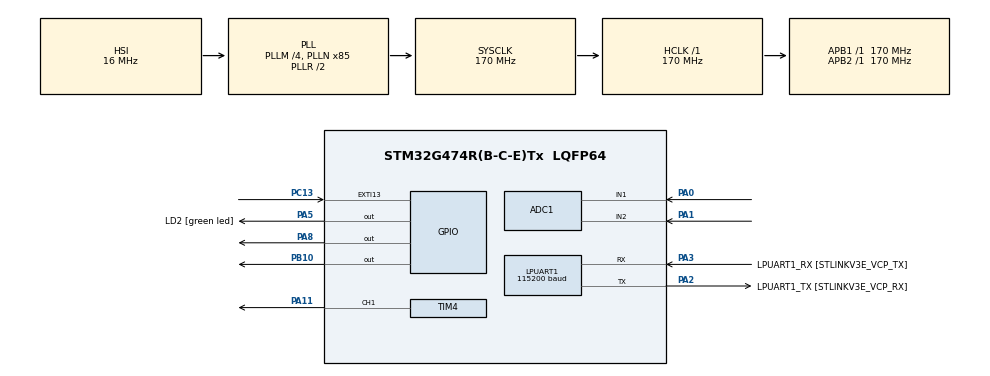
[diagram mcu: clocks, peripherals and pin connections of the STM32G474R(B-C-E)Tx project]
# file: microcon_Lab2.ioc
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ADC1.Channel-0\#ChannelRegularConversion=ADC_CHANNEL_1
ADC1.Channel-1\#ChannelRegularConversion=ADC_CHANNEL_2
ADC1.ContinuousConvMode=DISABLE
ADC1.DMAContinuousRequests=ENABLE
ADC1.ExternalTrigConv=ADC_EXTERNALTRIG_T3_TRGO
ADC1.NbrOfConversion=2
ADC1.NbrOfConversionFlag=1
ADC1.OffsetNumber-0\#ChannelRegularConversion=ADC_OFFSET_NONE
ADC1.OffsetNumber-1\#ChannelRegularConversion=ADC_OFFSET_NONE
ADC1.Rank-0\#ChannelRegularConversion=1
ADC1.Rank-1\#ChannelRegularConversion=2
ADC1.SamplingTime-0\#ChannelRegularConversion=ADC_SAMPLETIME_2CYCLES_5
ADC1.SamplingTime-1\#ChannelRegularConversion=ADC_SAMPLETIME_2CYCLES_5
ADC1.master=1
ARM.CMSIS-DSP.1.15.0.CMSISJjDSP=Source
ARM.CMSIS.6.0.0.CMSISJjCORE=true
Dma.ADC1.0.Direction=DMA_PERIPH_TO_MEMORY
Dma.ADC1.0.EventEnable=DISABLE
Dma.ADC1.0.Instance=DMA1_Channel1
Dma.ADC1.0.MemDataAlignment=DMA_MDATAALIGN_HALFWORD
Dma.ADC1.0.MemInc=DMA_MINC_ENABLE
Dma.ADC1.0.Mode=DMA_CIRCULAR
Dma.ADC1.0.PeriphDataAlignment=DMA_PDATAALIGN_HALFWORD
Dma.ADC1.0.PeriphInc=DMA_PINC_DISABLE
Dma.ADC1.0.Polarity=HAL_DMAMUX_REQ_GEN_RISING
Dma.ADC1.0.Priority=DMA_PRIORITY_LOW
Dma.ADC1.0.RequestNumber=1
Dma.ADC1.0.SignalID=NONE
Dma.ADC1.0.SyncEnable=DISABLE
Dma.ADC1.0.SyncPolarity=HAL_DMAMUX_SYNC_NO_EVENT
Dma.ADC1.0.SyncRequestNumber=1
Dma.ADC1.0.SyncSignalID=NONE
Dma.LPUART1_RX.1.Direction=DMA_PERIPH_TO_MEMORY
Dma.LPUART1_RX.1.EventEnable=DISABLE
Dma.LPUART1_RX.1.Instance=DMA1_Channel2
Dma.LPUART1_RX.1.MemDataAlignment=DMA_MDATAALIGN_BYTE
Dma.LPUART1_RX.1.MemInc=DMA_MINC_ENABLE
Dma.LPUART1_RX.1.Mode=DMA_CIRCULAR
Dma.LPUART1_RX.1.PeriphDataAlignment=DMA_PDATAALIGN_BYTE
Dma.LPUART1_RX.1.PeriphInc=DMA_PINC_DISABLE
Dma.LPUART1_RX.1.Polarity=HAL_DMAMUX_REQ_GEN_RISING
Dma.LPUART1_RX.1.Priority=DMA_PRIORITY_LOW
Dma.LPUART1_RX.1.RequestNumber=1
Dma.LPUART1_RX.1.SignalID=NONE
Dma.LPUART1_RX.1.SyncEnable=DISABLE
Dma.LPUART1_RX.1.SyncPolarity=HAL_DMAMUX_SYNC_NO_EVENT
Dma.LPUART1_RX.1.SyncRequestNumber=1
Dma.LPUART1_RX.1.SyncSignalID=NONE
Dma.LPUART1_TX.2.Direction=DMA_MEMORY_TO_PERIPH
Dma.LPUART1_TX.2.EventEnable=DISABLE
Dma.LPUART1_TX.2.Instance=DMA1_Channel3
Dma.LPUART1_TX.2.MemDataAlignment=DMA_MDATAALIGN_BYTE
Dma.LPUART1_TX.2.MemInc=DMA_MINC_ENABLE
Dma.LPUART1_TX.2.Mode=DMA_NORMAL
Dma.LPUART1_TX.2.PeriphDataAlignment=DMA_PDATAALIGN_BYTE
Dma.LPUART1_TX.2.PeriphInc=DMA_PINC_DISABLE
Dma.LPUART1_TX.2.Polarity=HAL_DMAMUX_REQ_GEN_RISING
Dma.LPUART1_TX.2.Priority=DMA_PRIORITY_LOW
Dma.LPUART1_TX.2.RequestNumber=1
Dma.LPUART1_TX.2.SignalID=NONE
Dma.LPUART1_TX.2.SyncEnable=DISABLE
Dma.LPUART1_TX.2.SyncPolarity=HAL_DMAMUX_SYNC_NO_EVENT
Dma.LPUART1_TX.2.SyncRequestNumber=1
Dma.LPUART1_TX.2.SyncSignalID=NONE
Dma.Request0=ADC1
Dma.Request1=LPUART1_RX
Dma.Request2=LPUART1_TX
LPUART1.BaudRate=115200
LPUART1.WordLength=UART_WORDLENGTH_8B
Mcu.Family=STM32G4
Mcu.Name=STM32G474R(B-C-E)Tx
Mcu.Package=LQFP64
NVIC.DMA1_Channel1_IRQn=true\:0\:0\:false\:false\:true\:false\:true\:true
NVIC.DMA1_Channel2_IRQn=true\:0\:0\:false\:false\:true\:false\:true\:true
NVIC.DMA1_Channel3_IRQn=true\:0\:0\:false\:false\:true\:false\:true\:true
NVIC.EXTI15_10_IRQn=true\:0\:0\:false\:false\:true\:true\:true\:true
NVIC.LPUART1_IRQn=true\:0\:0\:false\:false\:true\:true\:true\:true
NVIC.PriorityGroup=NVIC_PRIORITYGROUP_4
NVIC.TIM5_IRQn=true\:0\:0\:false\:false\:true\:true\:true\:true
PA0.Mode=IN1-Single-Ended
PA0.Signal=ADC1_IN1
PA1.Mode=IN2-Single-Ended
PA1.Signal=ADC1_IN2
PA11.Signal=S_TIM4_CH1
PA13.GPIO_Label=T_SWDIO
PA13.Mode=Trace_Asynchronous_SW
PA13.Signal=SYS_JTMS-SWDIO
PA14.GPIO_Label=T_SWCLK
PA14.Mode=Trace_Asynchronous_SW
PA14.Signal=SYS_JTCK-SWCLK
PA2.GPIO_Label=LPUART1_TX [STLINKV3E_VCP_RX]
PA2.Mode=Asynchronous
PA2.Signal=LPUART1_TX
PA3.GPIO_Label=LPUART1_RX [STLINKV3E_VCP_TX]
PA3.Mode=Asynchronous
PA3.Signal=LPUART1_RX
PA5.GPIO_Label=LD2 [green led]
PA5.Signal=GPIO_Output
PA8.Signal=GPIO_Output
PB10.Signal=GPIO_Output
PB3.GPIO_Label=T_SWO
PB3.Mode=Trace_Asynchronous_SW
PB3.Signal=SYS_JTDO-SWO
PC13.GPIO_ModeDefaultEXTI=GPIO_MODE_IT_RISING
PC13.Signal=GPXTI13
PC14-OSC32_IN.Mode=LSE-External-Oscillator
PC14-OSC32_IN.Signal=RCC_OSC32_IN
PC15-OSC32_OUT.Mode=LSE-External-Oscillator
PC15-OSC32_OUT.Signal=RCC_OSC32_OUT
PF0-OSC_IN.Mode=HSE-External-Oscillator
PF0-OSC_IN.Signal=RCC_OSC_IN
PF1-OSC_OUT.Mode=HSE-External-Oscillator
PF1-OSC_OUT.Signal=RCC_OSC_OUT
ProjectManager.HeapSize=0x200
ProjectManager.StackSize=0x400
ProjectManager.TargetToolchain=STM32CubeIDE
RCC.ADC12Freq_Value=170000000
RCC.ADC345Freq_Value=170000000
RCC.AHBFreq_Value=170000000
RCC.APB1Freq_Value=170000000
RCC.APB1TimFreq_Value=170000000
RCC.APB2Freq_Value=170000000
RCC.APB2TimFreq_Value=170000000
RCC.CortexFreq_Value=170000000
RCC.EXTERNAL_CLOCK_VALUE=12288000
RCC.HCLKFreq_Value=170000000
RCC.HSE_VALUE=24000000
RCC.HSI48_VALUE=48000000
RCC.HSI_VALUE=16000000
RCC.PLLM=RCC_PLLM_DIV4
RCC.PLLN=85
RCC.RTCClockSelection=RCC_RTCCLKSOURCE_LSE
RCC.SYSCLKFreq_VALUE=170000000
RCC.SYSCLKSource=RCC_SYSCLKSOURCE_PLLCLK
RCC.USBFreq_Value=170000000
RCC.VCOOutputFreq_Value=340000000
SH.S_TIM4_CH1.0=TIM4_CH1,PWM Generation1 CH1
TIM3.PeriodNoDither=999
TIM3.Prescaler=169
TIM3.TIM_MasterOutputTrigger=TIM_TRGO_UPDATE
TIM4.Channel-PWM\ Generation1\ CH1=TIM_CHANNEL_1
TIM4.PeriodNoDither=999
TIM4.Prescaler=169
TIM4.PulseNoDither_1=500
TIM5.PeriodNoDither=4999
TIM5.Prescaler=169
VP_ARM.CMSIS-DSP_VS_CMSISJjDSP_1.15.0_1.15.0.Mode=CMSISJjDSP
VP_ARM.CMSIS_VS_CMSISJjCORE_6.0.0_6.0.0.Mode=CMSISJjCORE
VP_SYS_VS_DBSignals.Mode=DisableDeadBatterySignals
VP_TIM3_VS_ClockSourceINT.Mode=Internal
VP_TIM4_VS_ClockSourceINT.Mode=Internal
VP_TIM5_VS_ClockSourceINT.Mode=Internal
board=NUCLEO-G474RE

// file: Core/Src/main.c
/* USER CODE BEGIN Header */
/**
  ******************************************************************************
  * @file           : main.c
  * @brief          : Main program body
  ******************************************************************************
  * @attention
  *
  * Copyright (c) 2024 STMicroelectronics.
  * All rights reserved.
  *
  * This software is licensed under terms that can be found in the LICENSE file
  * in the root directory of this software component.
  * If no LICENSE file comes with this software, it is provided AS-IS.
  *
  ******************************************************************************
  ******************************************************************************
  ******************************************************************************
  TODO:
  set PWM mode 2 peripherals
  set QEI Timer
  set 1000 Hz timer
  */
/* USER CODE END Header */
#include "main.h"

/* USER CODE BEGIN Includes */
#include "arm_math.h"
/* USER CODE END Includes */

ADC_HandleTypeDef hadc1;
DMA_HandleTypeDef hdma_adc1;

UART_HandleTypeDef hlpuart1;
DMA_HandleTypeDef hdma_lpuart1_rx;
DMA_HandleTypeDef hdma_lpuart1_tx;

TIM_HandleTypeDef htim3;
TIM_HandleTypeDef htim4;
TIM_HandleTypeDef htim5;
TIM_HandleTypeDef htim1;
TIM_HandleTypeDef htim2;
TIM_HandleTypeDef htim8;
/* USER CODE BEGIN PV */

//For Read Real_positionM1, set_point
uint16_t ADCBuffer[2];

//PID
arm_pid_instance_f32 PID1 = {0};
arm_pid_instance_f32 PID2 = {0};
float positionM1 =0;
float setpositionM1 = 0;
float VfeedbackM1 = 0;
float VfeedbackM2 = 0;
uint16_t Raw_positionM2 = 0;
float positionM2 = 0;
uint16_t QEIReadRaw = 0;

//For create PWM
float duty_cycle = 0;

//count round to unwrap positionM1
int n_round = 0;
uint16_t old_ADC = 0;

//change_mode
uint8_t mode = 1;  //mode1->motor control    mode2->faulhaber

uint8_t get_Uart[2];

/* USER CODE END PV */

void SystemClock_Config(void);
static void MX_GPIO_Init(void);
static void MX_DMA_Init(void);
static void MX_LPUART1_UART_Init(void);
static void MX_ADC1_Init(void);
static void MX_TIM3_Init(void);
static void MX_TIM4_Init(void);
static void MX_TIM5_Init(void);
/* USER CODE BEGIN PFP */
float PlantSimulation(float VIn) ;
void PWM_Mode1();
void PWM_Mode2();
void Read_setpoint_positionM1_Mode1();

//Received UART DMA
void UARTDMAConfig();
/* USER CODE END PFP */

int main(void)
{

  /* MCU Configuration--------------------------------------------------------*/

  /* Reset of all peripherals, Initializes the Flash interface and the Systick. */
  HAL_Init();

  /* Configure the system clock */
  SystemClock_Config();

  /* Initialize all configured peripherals */
  MX_GPIO_Init();
  MX_DMA_Init();
  MX_LPUART1_UART_Init();
  MX_ADC1_Init();
  MX_TIM3_Init();
  MX_TIM4_Init();
  MX_TIM5_Init();
  /* USER CODE BEGIN 2 */

  //Read real_positionM1, set_point with DMA
  HAL_ADC_Start_DMA(&hadc1, ADCBuffer, 2);
  HAL_TIM_Base_Start(&htim3);

  //PID Control
  PID1.Kp = 1.9;
  PID1.Ki = 0;
  PID1.Kd = 0;
  arm_pid_init_f32(&PID1, 0);

  //PID Control
  PID2.Kp = 0.5;
  PID2.Ki = 0;
  PID2.Kd = 0;
  arm_pid_init_f32(&PID2, 0);

  //Output Compare for PWM Mode1
  HAL_TIM_Base_Start(&htim4);
  HAL_TIM_PWM_Start(&htim4, TIM_CHANNEL_1);

  //Output Compare for PWM Mode2
//  HAL_TIM_Base_Start(&htim8);
//  HAL_TIM_PWM_Start(&htim8, TIM_CHANNEL_1);

  //Mode3 send UART to Matlab
  HAL_TIM_Base_Start_IT(&htim5);

  // Start UART in DMA mode
  HAL_UART_Receive_DMA(&hlpuart1, get_Uart, 2);

  //QEI
//  HAL_TIM_Encoder_Start(&htim1,TIM_CHANNEL_ALL);
//
//  //Timer interrupt read position
//  HAL_TIM_Base_Start_IT(&htim2);

  /* USER CODE END 2 */

  /* Infinite loop */
  while (1)
  {

    /* USER CODE BEGIN 3 */
	  if(mode == 1){ //motor control 12V
		  HAL_GPIO_WritePin(GPIOA, GPIO_PIN_5, GPIO_PIN_SET);
		  VfeedbackM1 = arm_pid_f32(&PID1, setpositionM1 - positionM1); //no more than 12V
		  duty_cycle = fabs(VfeedbackM1) * 100/12; //0->12V to 0->100%
		  PWM_Mode1(duty_cycle);
		  PWM_Mode2(0);
	  }
	  else if(mode == 2){ //Fualhaber
		  HAL_GPIO_WritePin(GPIOA, GPIO_PIN_5, GPIO_PIN_RESET);
		  VfeedbackM2 = arm_pid_f32(&PID2, setpositionM1 - positionM2); //no more than 12V
		  duty_cycle = fabs(VfeedbackM2) * 100/5; //0->5V to 0->100%
		  PWM_Mode1(0);
		  PWM_Mode2(duty_cycle);
	  }
	  else if(mode == 3){

		  HAL_GPIO_TogglePin(GPIOA, GPIO_PIN_5);
	  }
	  else if(mode == 4){
		  //why are you here
		  //test again
	  }
  }
  /* USER CODE END 3 */
}

void SystemClock_Config(void)
{
  RCC_OscInitTypeDef RCC_OscInitStruct = {0};
  RCC_ClkInitTypeDef RCC_ClkInitStruct = {0};

  /** Configure the main internal regulator output voltage
  */
  HAL_PWREx_ControlVoltageScaling(PWR_REGULATOR_VOLTAGE_SCALE1_BOOST);

  /** Initializes the RCC Oscillators according to the specified parameters
  * in the RCC_OscInitTypeDef structure.
  */
  RCC_OscInitStruct.OscillatorType = RCC_OSCILLATORTYPE_HSI;
  RCC_OscInitStruct.HSIState = RCC_HSI_ON;
  RCC_OscInitStruct.HSICalibrationValue = RCC_HSICALIBRATION_DEFAULT;
  RCC_OscInitStruct.PLL.PLLState = RCC_PLL_ON;
  RCC_OscInitStruct.PLL.PLLSource = RCC_PLLSOURCE_HSI;
  RCC_OscInitStruct.PLL.PLLM = RCC_PLLM_DIV4;
  RCC_OscInitStruct.PLL.PLLN = 85;
  RCC_OscInitStruct.PLL.PLLP = RCC_PLLP_DIV2;
  RCC_OscInitStruct.PLL.PLLQ = RCC_PLLQ_DIV2;
  RCC_OscInitStruct.PLL.PLLR = RCC_PLLR_DIV2;
  if (HAL_RCC_OscConfig(&RCC_OscInitStruct) != HAL_OK)
  {
    Error_Handler();
  }

  /** Initializes the CPU, AHB and APB buses clocks
  */
  RCC_ClkInitStruct.ClockType = RCC_CLOCKTYPE_HCLK|RCC_CLOCKTYPE_SYSCLK
                              |RCC_CLOCKTYPE_PCLK1|RCC_CLOCKTYPE_PCLK2;
  RCC_ClkInitStruct.SYSCLKSource = RCC_SYSCLKSOURCE_PLLCLK;
  RCC_ClkInitStruct.AHBCLKDivider = RCC_SYSCLK_DIV1;
  RCC_ClkInitStruct.APB1CLKDivider = RCC_HCLK_DIV1;
  RCC_ClkInitStruct.APB2CLKDivider = RCC_HCLK_DIV1;

  if (HAL_RCC_ClockConfig(&RCC_ClkInitStruct, FLASH_LATENCY_4) != HAL_OK)
  {
    Error_Handler();
  }
}

static void MX_ADC1_Init(void)
{

  ADC_MultiModeTypeDef multimode = {0};
  ADC_ChannelConfTypeDef sConfig = {0};

  /** Common config
  */
  hadc1.Instance = ADC1;
  hadc1.Init.ClockPrescaler = ADC_CLOCK_SYNC_PCLK_DIV4;
  hadc1.Init.Resolution = ADC_RESOLUTION_12B;
  hadc1.Init.DataAlign = ADC_DATAALIGN_RIGHT;
  hadc1.Init.GainCompensation = 0;
  hadc1.Init.ScanConvMode = ADC_SCAN_ENABLE;
  hadc1.Init.EOCSelection = ADC_EOC_SINGLE_CONV;
  hadc1.Init.LowPowerAutoWait = DISABLE;
  hadc1.Init.ContinuousConvMode = DISABLE;
  hadc1.Init.NbrOfConversion = 2;
  hadc1.Init.DiscontinuousConvMode = DISABLE;
  hadc1.Init.ExternalTrigConv = ADC_EXTERNALTRIG_T3_TRGO;
  hadc1.Init.ExternalTrigConvEdge = ADC_EXTERNALTRIGCONVEDGE_RISING;
  hadc1.Init.DMAContinuousRequests = ENABLE;
  hadc1.Init.Overrun = ADC_OVR_DATA_PRESERVED;
  hadc1.Init.OversamplingMode = DISABLE;
  if (HAL_ADC_Init(&hadc1) != HAL_OK)
  {
    Error_Handler();
  }

  /** Configure the ADC multi-mode
  */
  multimode.Mode = ADC_MODE_INDEPENDENT;
  if (HAL_ADCEx_MultiModeConfigChannel(&hadc1, &multimode) != HAL_OK)
  {
    Error_Handler();
  }

  /** Configure Regular Channel
  */
  sConfig.Channel = ADC_CHANNEL_1;
  sConfig.Rank = ADC_REGULAR_RANK_1;
  sConfig.SamplingTime = ADC_SAMPLETIME_2CYCLES_5;
  sConfig.SingleDiff = ADC_SINGLE_ENDED;
  sConfig.OffsetNumber = ADC_OFFSET_NONE;
  sConfig.Offset = 0;
  if (HAL_ADC_ConfigChannel(&hadc1, &sConfig) != HAL_OK)
  {
    Error_Handler();
  }

  /** Configure Regular Channel
  */
  sConfig.Channel = ADC_CHANNEL_2;
  sConfig.Rank = ADC_REGULAR_RANK_2;
  if (HAL_ADC_ConfigChannel(&hadc1, &sConfig) != HAL_OK)
  {
    Error_Handler();
  }

}

static void MX_LPUART1_UART_Init(void)
{

  hlpuart1.Instance = LPUART1;
  hlpuart1.Init.BaudRate = 115200;
  hlpuart1.Init.WordLength = UART_WORDLENGTH_8B;
  hlpuart1.Init.StopBits = UART_STOPBITS_1;
  hlpuart1.Init.Parity = UART_PARITY_NONE;
  hlpuart1.Init.Mode = UART_MODE_TX_RX;
  hlpuart1.Init.HwFlowCtl = UART_HWCONTROL_NONE;
  hlpuart1.Init.OneBitSampling = UART_ONE_BIT_SAMPLE_DISABLE;
  hlpuart1.Init.ClockPrescaler = UART_PRESCALER_DIV1;
  hlpuart1.AdvancedInit.AdvFeatureInit = UART_ADVFEATURE_NO_INIT;
  if (HAL_UART_Init(&hlpuart1) != HAL_OK)
  {
    Error_Handler();
  }
  if (HAL_UARTEx_SetTxFifoThreshold(&hlpuart1, UART_TXFIFO_THRESHOLD_1_8) != HAL_OK)
  {
    Error_Handler();
  }
  if (HAL_UARTEx_SetRxFifoThreshold(&hlpuart1, UART_RXFIFO_THRESHOLD_1_8) != HAL_OK)
  {
    Error_Handler();
  }
  if (HAL_UARTEx_DisableFifoMode(&hlpuart1) != HAL_OK)
  {
    Error_Handler();
  }

}

static void MX_TIM3_Init(void)
{

  TIM_ClockConfigTypeDef sClockSourceConfig = {0};
  TIM_MasterConfigTypeDef sMasterConfig = {0};

  htim3.Instance = TIM3;
  htim3.Init.Prescaler = 169;
  htim3.Init.CounterMode = TIM_COUNTERMODE_UP;
  htim3.Init.Period = 999;
  htim3.Init.ClockDivision = TIM_CLOCKDIVISION_DIV1;
  htim3.Init.AutoReloadPreload = TIM_AUTORELOAD_PRELOAD_DISABLE;
  if (HAL_TIM_Base_Init(&htim3) != HAL_OK)
  {
    Error_Handler();
  }
  sClockSourceConfig.ClockSource = TIM_CLOCKSOURCE_INTERNAL;
  if (HAL_TIM_ConfigClockSource(&htim3, &sClockSourceConfig) != HAL_OK)
  {
    Error_Handler();
  }
  sMasterConfig.MasterOutputTrigger = TIM_TRGO_UPDATE;
  sMasterConfig.MasterSlaveMode = TIM_MASTERSLAVEMODE_DISABLE;
  if (HAL_TIMEx_MasterConfigSynchronization(&htim3, &sMasterConfig) != HAL_OK)
  {
    Error_Handler();
  }

}

static void MX_TIM4_Init(void)
{

  TIM_ClockConfigTypeDef sClockSourceConfig = {0};
  TIM_MasterConfigTypeDef sMasterConfig = {0};
  TIM_OC_InitTypeDef sConfigOC = {0};

  htim4.Instance = TIM4;
  htim4.Init.Prescaler = 169;
  htim4.Init.CounterMode = TIM_COUNTERMODE_UP;
  htim4.Init.Period = 999;
  htim4.Init.ClockDivision = TIM_CLOCKDIVISION_DIV1;
  htim4.Init.AutoReloadPreload = TIM_AUTORELOAD_PRELOAD_DISABLE;
  if (HAL_TIM_Base_Init(&htim4) != HAL_OK)
  {
    Error_Handler();
  }
  sClockSourceConfig.ClockSource = TIM_CLOCKSOURCE_INTERNAL;
  if (HAL_TIM_ConfigClockSource(&htim4, &sClockSourceConfig) != HAL_OK)
  {
    Error_Handler();
  }
  if (HAL_TIM_PWM_Init(&htim4) != HAL_OK)
  {
    Error_Handler();
  }
  sMasterConfig.MasterOutputTrigger = TIM_TRGO_RESET;
  sMasterConfig.MasterSlaveMode = TIM_MASTERSLAVEMODE_DISABLE;
  if (HAL_TIMEx_MasterConfigSynchronization(&htim4, &sMasterConfig) != HAL_OK)
  {
    Error_Handler();
  }
  sConfigOC.OCMode = TIM_OCMODE_PWM1;
  sConfigOC.Pulse = 500;
  sConfigOC.OCPolarity = TIM_OCPOLARITY_HIGH;
  sConfigOC.OCFastMode = TIM_OCFAST_DISABLE;
  if (HAL_TIM_PWM_ConfigChannel(&htim4, &sConfigOC, TIM_CHANNEL_1) != HAL_OK)
  {
    Error_Handler();
  }
  HAL_TIM_MspPostInit(&htim4);

}

static void MX_TIM5_Init(void)
{

  TIM_ClockConfigTypeDef sClockSourceConfig = {0};
  TIM_MasterConfigTypeDef sMasterConfig = {0};

  htim5.Instance = TIM5;
  htim5.Init.Prescaler = 169;
  htim5.Init.CounterMode = TIM_COUNTERMODE_UP;
  htim5.Init.Period = 4999;
  htim5.Init.ClockDivision = TIM_CLOCKDIVISION_DIV1;
  htim5.Init.AutoReloadPreload = TIM_AUTORELOAD_PRELOAD_DISABLE;
  if (HAL_TIM_Base_Init(&htim5) != HAL_OK)
  {
    Error_Handler();
  }
  sClockSourceConfig.ClockSource = TIM_CLOCKSOURCE_INTERNAL;
  if (HAL_TIM_ConfigClockSource(&htim5, &sClockSourceConfig) != HAL_OK)
  {
    Error_Handler();
  }
  sMasterConfig.MasterOutputTrigger = TIM_TRGO_RESET;
  sMasterConfig.MasterSlaveMode = TIM_MASTERSLAVEMODE_DISABLE;
  if (HAL_TIMEx_MasterConfigSynchronization(&htim5, &sMasterConfig) != HAL_OK)
  {
    Error_Handler();
  }

}

static void MX_DMA_Init(void)
{

  /* DMA controller clock enable */
  __HAL_RCC_DMAMUX1_CLK_ENABLE();
  __HAL_RCC_DMA1_CLK_ENABLE();

  /* DMA interrupt init */
  /* DMA1_Channel1_IRQn interrupt configuration */
  HAL_NVIC_SetPriority(DMA1_Channel1_IRQn, 0, 0);
  HAL_NVIC_EnableIRQ(DMA1_Channel1_IRQn);
  /* DMA1_Channel2_IRQn interrupt configuration */
  HAL_NVIC_SetPriority(DMA1_Channel2_IRQn, 0, 0);
  HAL_NVIC_EnableIRQ(DMA1_Channel2_IRQn);
  /* DMA1_Channel3_IRQn interrupt configuration */
  HAL_NVIC_SetPriority(DMA1_Channel3_IRQn, 0, 0);
  HAL_NVIC_EnableIRQ(DMA1_Channel3_IRQn);

}

static void MX_GPIO_Init(void)
{
  GPIO_InitTypeDef GPIO_InitStruct = {0};

  /* GPIO Ports Clock Enable */
  __HAL_RCC_GPIOC_CLK_ENABLE();
  __HAL_RCC_GPIOF_CLK_ENABLE();
  __HAL_RCC_GPIOA_CLK_ENABLE();
  __HAL_RCC_GPIOB_CLK_ENABLE();

  /*Configure GPIO pin Output Level */
  HAL_GPIO_WritePin(GPIOA, LD2_Pin|GPIO_PIN_8, GPIO_PIN_RESET);

  /*Configure GPIO pin Output Level */
  HAL_GPIO_WritePin(GPIOB, GPIO_PIN_10, GPIO_PIN_RESET);

  /*Configure GPIO pin : PC13 */
  GPIO_InitStruct.Pin = GPIO_PIN_13;
  GPIO_InitStruct.Mode = GPIO_MODE_IT_RISING;
  GPIO_InitStruct.Pull = GPIO_NOPULL;
  HAL_GPIO_Init(GPIOC, &GPIO_InitStruct);

  /*Configure GPIO pins : LD2_Pin PA8 */
  GPIO_InitStruct.Pin = LD2_Pin|GPIO_PIN_8;
  GPIO_InitStruct.Mode = GPIO_MODE_OUTPUT_PP;
  GPIO_InitStruct.Pull = GPIO_NOPULL;
  GPIO_InitStruct.Speed = GPIO_SPEED_FREQ_LOW;
  HAL_GPIO_Init(GPIOA, &GPIO_InitStruct);

  /*Configure GPIO pin : PB10 */
  GPIO_InitStruct.Pin = GPIO_PIN_10;
  GPIO_InitStruct.Mode = GPIO_MODE_OUTPUT_PP;
  GPIO_InitStruct.Pull = GPIO_NOPULL;
  GPIO_InitStruct.Speed = GPIO_SPEED_FREQ_LOW;
  HAL_GPIO_Init(GPIOB, &GPIO_InitStruct);

  /* EXTI interrupt init*/
  HAL_NVIC_SetPriority(EXTI15_10_IRQn, 0, 0);
  HAL_NVIC_EnableIRQ(EXTI15_10_IRQn);

}

/* USER CODE BEGIN 4 */

void HAL_GPIO_EXTI_Callback(uint16_t GPIO_Pin)
{
	if(GPIO_Pin == GPIO_PIN_13)
	{
		mode += 1;
		if(mode == 4){
			mode = 1;
		}
	}
}

void PWM_Mode1(int dut){ //Motor Control
	//PWM to Motor Output Compare
	__HAL_TIM_SET_COMPARE(&htim4, TIM_CHANNEL_1, (int)((dut * 1000) / 100));

	if(VfeedbackM1 >= 0){   //Motor Rotate Forward (CW) Radiant Increase
		HAL_GPIO_WritePin(GPIOA, GPIO_PIN_8, GPIO_PIN_SET);
		HAL_GPIO_WritePin(GPIOB, GPIO_PIN_10, GPIO_PIN_RESET);
	}
	else{ //Motor Rotate Reverse Radiant decrease (CCW)
		HAL_GPIO_WritePin(GPIOA, GPIO_PIN_8, GPIO_PIN_RESET);
		HAL_GPIO_WritePin(GPIOB, GPIO_PIN_10, GPIO_PIN_SET);
	}
}

<<<<<<< HEAD
void PWM_Mode2(int dut){ //Motor Control
	//PWM to Motor Output Compare
//	__HAL_TIM_SET_COMPARE(&htim8, TIM_CHANNEL_1, (int)((dut * 1000) / 100));

	if(VfeedbackM2 >= 0){   //Motor Rotate Forward (CW) Radiant Increase
//		__HAL_TIM_SET_COMPARE(&htim8, TIM_CHANNEL_1, (int)((dut * 1000) / 100));
//		__HAL_TIM_SET_COMPARE(&htim8, TIM_CHANNEL_2, 0);
	}
	else{ //Motor Rotate Reverse Radiant decrease (CCW)
//		__HAL_TIM_SET_COMPARE(&htim8, TIM_CHANNEL_1, 0);
//		__HAL_TIM_SET_COMPARE(&htim8, TIM_CHANNEL_2, (int)((dut * 1000) / 100));
=======
void PWM_Mode2(uint16_t dut){ //Motor Control

	if(Vfeedback >= 0){   //Motor Rotate Forward (CW) Radiant Increase
		__HAL_TIM_SET_COMPARE(&htim8, TIM_CHANNEL_1, (int)((dut * 1000) / 100));
		__HAL_TIM_SET_COMPARE(&htim8, TIM_CHANNEL_2, 0);
	}
	else{ //Motor Rotate Reverse Radiant decrease (CCW)
		__HAL_TIM_SET_COMPARE(&htim8, TIM_CHANNEL_1, 0);
		__HAL_TIM_SET_COMPARE(&htim8, TIM_CHANNEL_2, (int)((dut * 1000) / 100));
>>>>>>> 20d3c1a5c4401086950a89dfbd86bb1d8ac00634
	}
}

void Read_setpoint_positionM1_Mode1(){ //Motor Control
	//Unwrap positionM1
	if((old_ADC -  ADCBuffer[0])>2048){
		n_round += 1;
	}
	else if((old_ADC -  ADCBuffer[0])<-2048){
		n_round -= 1;
	}
	old_ADC = ADCBuffer[0];

	setpositionM1 = ADCBuffer[1]*2*3.14/4095; //4095 -> rad
	positionM1 = (ADCBuffer[0] + 4095*n_round)*2*3.14/4095; //4095 -> rad //feedback from potentionmeter
}

void HAL_TIM_PeriodElapsedCallback(TIM_HandleTypeDef *htim)
{
	if(htim == &htim5 && mode == 3)
	{
		uint16_t pos = ADCBuffer[0]; // Your 16-bit number
		uint16_t set_pos = ADCBuffer[1];
		uint8_t header = 69; // ASCII value for 'E'
		uint8_t terminator = '\n'; // Newline character

		// Split 16-bit number into two 8-bit parts
		uint8_t highByte_pos = (pos >> 8) & 0xFF;
		uint8_t lowByte_pos = pos & 0xFF;

		uint8_t highByte_setpos = (set_pos >> 8) & 0xFF;
		uint8_t lowByte_setpos = set_pos & 0xFF;

		// Prepare buffer to hold header, two 8-bit parts, and terminator
		uint8_t buffer[6];
		buffer[0] = header;
		buffer[1] = highByte_pos;
		buffer[2] = lowByte_pos;
		buffer[3] = highByte_setpos;
		buffer[4] = lowByte_setpos;
		buffer[5] = terminator;

		// Transmit data over UART
		HAL_UART_Transmit(&hlpuart1, buffer, sizeof(buffer), 10);

	}

//	if(htim == &htim2)
//	{
//		Read_setpoint_positionM1_Mode1();
//
//		//read position motor 2
//		QEIReadRaw = __HAL_TIM_GET_COUNTER(&htim1);
//		Raw_positionM2 += QEIReadRaw;
//		positionM2 = (Raw_positionM2*2*3.14)/3072;
//		__HAL_TIM_SET_COUNTER(&htim3, 0);
//	}
}

//Receive UART from simulink
void UARTDMAConfig()
{
	//start UART in DMA Mode
	HAL_UART_Receive_DMA(&hlpuart1, get_Uart, 2);
}

void HAL_UART_RxCpltCallback(UART_HandleTypeDef *huart)
{
	if(huart == &hlpuart1)
	{

	}
}

/* USER CODE END 4 */

void Error_Handler(void)
{
  __disable_irq();
  while (1)
  {
  }
}
